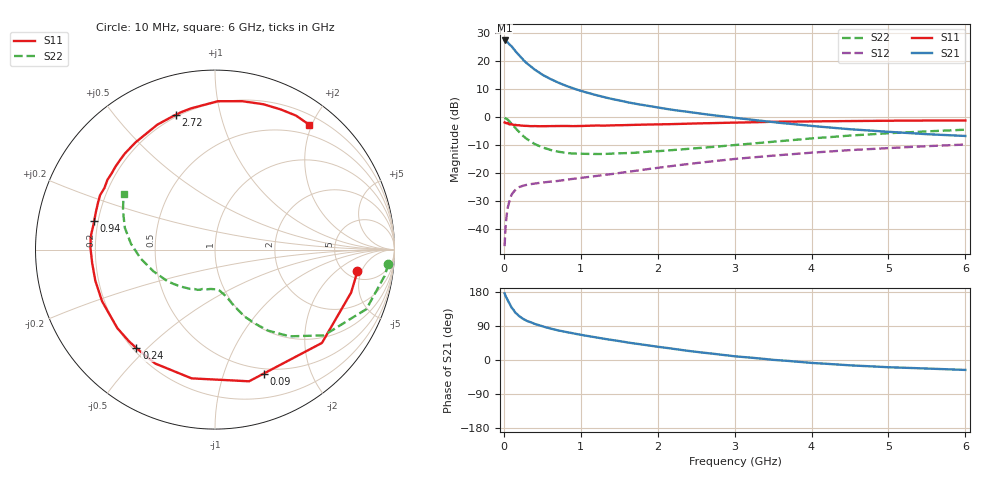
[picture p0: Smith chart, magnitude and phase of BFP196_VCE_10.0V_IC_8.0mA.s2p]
! Infineon Technologies  Discrete & RF Semiconductors
! BFP196
! VCE = 10.0V,  IC = 8.0mA
! Common Emitter S-Parameters:  Jan 2016
# GHz  S  MA  R  50
!  f  S11  S21  S12  S22
! GHz  MAG  ANG  MAG  ANG  MAG  ANG  MAG  ANG
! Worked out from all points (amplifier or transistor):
!   210 points, 10 MHz to 6 GHz, reference 50 ohm
!   highest |S21| = 27.3 dB at 10 MHz (marker M1)
!   |S21| within 3 dB of that: start of sweep to 126.5 MHz
!   unconditionally stable (mu >= 1): 999.3 MHz to 3.399 GHz
!   at 185 MHz: K = 0.26, MSG = 23.8 dB, |S12| = -25.2 dB
!   at 1.52 GHz: K = 1.15, MAG = 10.5 dB, |S12| = -19.9 dB
!   at 6 GHz: K = 0.97, MSG = 1.5 dB, |S12| = -9.8 dB
!   S11 on the Smith chart (normalised r, x): 10 MHz: 6.24, -4.22; 90 MHz: 0.45, -1.37; 240 MHz: 0.21, -0.46; 940 MHz: 0.18, +0.11; 2.72 GHz: 0.19, +0.73; 6 GHz: 0.34, +1.95
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0.01  0.8029 -8.6  23.26 175.9  0.005 83.9  0.9698 -4.7
0.02  0.7953 -17.5  22.68 170.0  0.0098 79.0  0.9558 -8.9
0.05  0.7909 -41.1  21.46 157.0  0.0241 69.0  0.9061 -21.5
0.09  0.7422 -68.6  18.81 142.7  0.0378 56.5  0.7934 -34.4
0.1  0.7579 -75.5  18.36 138.6  0.0414 54.7  0.7727 -38.2
0.15  0.7291 -100.3  15.01 124.9  0.0507 44.6  0.6377 -49.3
0.2  0.717 -117.7  12.56 115.6  0.0566 38.5  0.5392 -56.8
0.24  0.7026 -128.5  10.93 110.0  0.0592 35.4  0.4759 -61.0
0.26  0.7004 -133.3  10.24 107.4  0.0604 34.2  0.4496 -62.9
0.3  0.6983 -141.2  9.077 103.1  0.0623 32.4  0.4067 -66.2
0.4  0.692 -155.4  7.046 95.3  0.0657 29.6  0.3315 -71.3
0.5  0.689 -165.5  5.709 88.8  0.0682 29.5  0.2886 -74.5
0.7  0.6936 179.4  4.165 78.3  0.0727 31.2  0.2426 -80.9
0.94  0.6917 166.6  3.122 68.9  0.0804 33.8  0.223 -86.4
1.02  0.6957 162.7  2.886 65.8  0.0827 34.7  0.2215 -88.3
1.4  0.7142 147.1  2.113 52.9  0.0962 38.3  0.2237 -98.9
2.02  0.7436 126.5  1.47 34.5  0.1257 40.5  0.2475 -117.3
2.72  0.7822 106.3  1.084 16.5  0.1635 38.1  0.2942 -138.4
3.1  0.8017 97.4  0.938 8.2  0.1845 35.1  0.326 -149.7
4.1  0.8417 78.1  0.677 -8.8  0.2371 25.5  0.4266 -175.6
5.1  0.8635 63.7  0.537 -19.7  0.2854 14.3  0.5238 164.4
6  0.8714 53.1  0.461 -26.2  0.3245 3.6  0.5966 148.5
